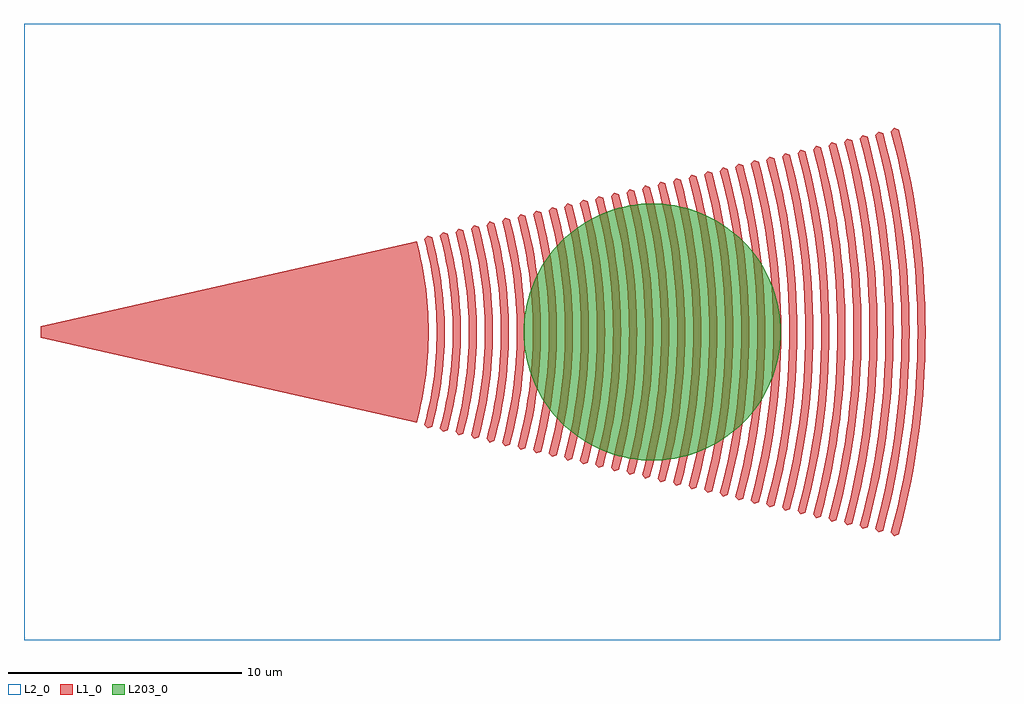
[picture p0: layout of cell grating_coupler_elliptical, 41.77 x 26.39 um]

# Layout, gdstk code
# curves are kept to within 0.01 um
import gdstk
lib = gdstk.Library(unit=1e-6, precision=1e-09)
def R(c, l, rs):  # rectangles x0, y0, x1, y1
    for r in rs: c.add(gdstk.rectangle(r[:2], r[2:], *l))
def P(c, l, *ps):  # polygons
    for p in ps: c.add(gdstk.Polygon(p, *l))
L1_0 = (1, 0)
L2_0 = (2, 0)
L203_0 = (203, 0)

circle_layer203_0_radius = lib.new_cell('circle_layer203_0_radius5p5')
P(circle_layer203_0_radius, L203_0, [(5.5,0),(5.495,0.24),(5.453,0.718),(5.37,1.19),(5.245,1.654),(5.081,2.105),(4.879,2.54),(4.639,2.955),(4.505,3.155),(4.213,3.535),(3.889,3.889),(3.535,4.213),(3.155,4.505),(2.955,4.639),(2.54,4.879),(2.105,5.081),(1.654,5.245),(1.19,5.37),(0.718,5.453),(0.24,5.495),(0,5.5),(-0.24,5.495),(-0.718,5.453),(-1.19,5.37),(-1.654,5.245),(-2.105,5.081),(-2.54,4.879),(-2.955,4.639),(-3.155,4.505),(-3.535,4.213),(-3.889,3.889),(-4.213,3.535),(-4.505,3.155),(-4.639,2.955),(-4.879,2.54),(-5.081,2.105),(-5.245,1.654),(-5.37,1.19),(-5.453,0.718),(-5.495,0.24),(-5.5,0),(-5.495,-0.24),(-5.453,-0.718),(-5.37,-1.19),(-5.245,-1.654),(-5.081,-2.105),(-4.879,-2.54),(-4.639,-2.955),(-4.505,-3.155),(-4.213,-3.535),(-3.889,-3.889),(-3.535,-4.213),(-3.155,-4.505),(-2.955,-4.639),(-2.54,-4.879),(-2.105,-5.081),(-1.654,-5.245),(-1.19,-5.37),(-0.718,-5.453),(-0.24,-5.495),(0,-5.5),(0.24,-5.495),(0.718,-5.453),(1.19,-5.37),(1.654,-5.245),(2.105,-5.081),(2.54,-4.879),(2.955,-4.639),(3.155,-4.505),(3.535,-4.213),(3.889,-3.889),(4.213,-3.535),(4.505,-3.155),(4.639,-2.955),(4.879,-2.54),(5.081,-2.105),(5.245,-1.654),(5.37,-1.19),(5.453,-0.718),(5.495,-0.24)])

grating_coupler_elliptic = lib.new_cell('grating_coupler_elliptical')
P(grating_coupler_elliptic, L1_0, [(17.275,-4.115),(17.138,-3.961),(17.381,-2.919),(17.514,-2.129),(17.627,-1.067),(17.664,0),(17.627,1.067),(17.514,2.129),(17.381,2.919),(17.138,3.961),(17.275,4.115),(17.469,4.047),(17.603,3.519),(17.767,2.716),(17.854,2.177),(17.947,1.363),(17.986,0.819),(18.008,0),(17.986,-0.819),(17.947,-1.363),(17.854,-2.177),(17.767,-2.716),(17.603,-3.519),(17.469,-4.047)],
  [(17.94,-4.269),(17.803,-4.115),(18.056,-3.032),(18.231,-1.937),(18.311,-1.109),(18.341,-0.555),(18.35,0),(18.341,0.555),(18.311,1.109),(18.231,1.937),(18.056,3.032),(17.803,4.115),(17.94,4.269),(18.135,4.201),(18.335,3.376),(18.444,2.82),(18.534,2.26),(18.631,1.415),(18.684,0.567),(18.694,0),(18.684,-0.567),(18.631,-1.415),(18.534,-2.26),(18.444,-2.82),(18.335,-3.376),(18.135,-4.201)],
  [(18.606,-4.423),(18.469,-4.269),(18.61,-3.709),(18.731,-3.146),(18.912,-2.009),(18.973,-1.437),(19.014,-0.863),(19.036,0),(19.014,0.863),(18.973,1.437),(18.912,2.009),(18.731,3.146),(18.61,3.709),(18.469,4.269),(18.606,4.423),(18.801,4.355),(18.944,3.787),(19.121,2.923),(19.253,2.051),(19.315,1.467),(19.356,0.881),(19.38,0),(19.356,-0.881),(19.315,-1.467),(19.253,-2.051),(19.121,-2.923),(18.944,-3.787),(18.801,-4.355)],
  [(19.271,-4.577),(19.134,-4.423),(19.345,-3.552),(19.46,-2.966),(19.555,-2.377),(19.628,-1.786),(19.68,-1.192),(19.712,-0.596),(19.722,0),(19.712,0.596),(19.68,1.192),(19.628,1.786),(19.555,2.377),(19.46,2.966),(19.345,3.552),(19.134,4.423),(19.271,4.577),(19.466,4.509),(19.681,3.624),(19.798,3.026),(19.894,2.426),(19.999,1.519),(20.055,0.608),(20.066,0),(20.055,-0.608),(19.999,-1.519),(19.894,-2.426),(19.798,-3.026),(19.681,-3.624),(19.466,-4.509)],
  [(19.937,-4.731),(19.8,-4.577),(20.018,-3.675),(20.137,-3.07),(20.235,-2.46),(20.311,-1.848),(20.365,-1.233),(20.398,-0.617),(20.408,0),(20.398,0.617),(20.365,1.233),(20.311,1.848),(20.235,2.46),(20.137,3.07),(20.018,3.675),(19.8,4.577),(19.937,4.731),(20.132,4.663),(20.354,3.747),(20.475,3.13),(20.616,2.196),(20.682,1.571),(20.727,0.943),(20.752,0),(20.727,-0.943),(20.682,-1.571),(20.616,-2.196),(20.475,-3.13),(20.354,-3.747),(20.132,-4.663)],
  [(20.602,-4.885),(20.465,-4.731),(20.691,-3.799),(20.814,-3.173),(20.915,-2.543),(20.993,-1.91),(21.05,-1.275),(21.083,-0.638),(21.094,0),(21.083,0.638),(21.05,1.275),(20.993,1.91),(20.915,2.543),(20.814,3.173),(20.691,3.799),(20.465,4.731),(20.602,4.885),(20.797,4.817),(20.956,4.188),(21.152,3.233),(21.297,2.269),(21.366,1.623),(21.412,0.974),(21.438,0),(21.412,-0.974),(21.366,-1.623),(21.297,-2.269),(21.152,-3.233),(20.956,-4.188),(20.797,-4.817)],
  [(21.268,-5.039),(21.131,-4.885),(21.364,-3.923),(21.491,-3.276),(21.595,-2.626),(21.676,-1.972),(21.734,-1.316),(21.769,-0.658),(21.78,0),(21.769,0.658),(21.734,1.316),(21.676,1.972),(21.595,2.626),(21.491,3.276),(21.364,3.923),(21.131,4.885),(21.268,5.039),(21.463,4.971),(21.626,4.322),(21.829,3.336),(21.935,2.674),(22.05,1.675),(22.112,0.671),(22.124,0),(22.112,-0.671),(22.05,-1.675),(21.935,-2.674),(21.829,-3.336),(21.626,-4.322),(21.463,-4.971)],
  [(21.933,-5.193),(21.796,-5.039),(21.963,-4.378),(22.105,-3.713),(22.224,-3.044),(22.32,-2.372),(22.392,-1.696),(22.44,-1.019),(22.466,0),(22.44,1.019),(22.392,1.696),(22.32,2.372),(22.224,3.044),(22.105,3.713),(21.963,4.378),(21.796,5.039),(21.933,5.193),(22.128,5.125),(22.297,4.456),(22.506,3.44),(22.615,2.757),(22.733,1.726),(22.782,1.037),(22.81,0),(22.782,-1.037),(22.733,-1.726),(22.615,-2.757),(22.506,-3.44),(22.297,-4.456),(22.128,-5.125)],
  [(22.599,-5.347),(22.462,-5.193),(22.71,-4.17),(22.845,-3.483),(22.955,-2.791),(23.042,-2.097),(23.103,-1.399),(23.14,-0.7),(23.152,0),(23.14,0.7),(23.103,1.399),(23.042,2.097),(22.955,2.791),(22.845,3.483),(22.71,4.17),(22.462,5.193),(22.599,5.347),(22.794,5.279),(23.045,4.242),(23.242,3.192),(23.342,2.487),(23.417,1.778),(23.483,0.712),(23.496,0),(23.483,-0.712),(23.417,-1.778),(23.342,-2.487),(23.242,-3.192),(23.045,-4.242),(22.794,-5.279)],
  [(23.264,-5.501),(23.127,-5.347),(23.304,-4.646),(23.455,-3.941),(23.582,-3.231),(23.683,-2.517),(23.788,-1.441),(23.826,-0.721),(23.838,0),(23.826,0.721),(23.788,1.441),(23.683,2.517),(23.582,3.231),(23.455,3.941),(23.304,4.646),(23.127,5.347),(23.264,5.501),(23.459,5.433),(23.718,4.366),(23.92,3.285),(24.023,2.559),(24.101,1.83),(24.169,0.733),(24.182,0),(24.169,-0.733),(24.101,-1.83),(24.023,-2.559),(23.92,-3.285),(23.718,-4.366),(23.459,-5.433)],
  [(23.93,-5.655),(23.793,-5.501),(23.974,-4.78),(24.13,-4.054),(24.26,-3.324),(24.365,-2.589),(24.443,-1.852),(24.495,-1.112),(24.524,0),(24.495,1.112),(24.443,1.852),(24.365,2.589),(24.26,3.324),(24.13,4.054),(23.974,4.78),(23.793,5.501),(23.93,5.655),(24.125,5.587),(24.391,4.489),(24.599,3.378),(24.705,2.632),(24.785,1.882),(24.838,1.13),(24.868,0),(24.838,-1.13),(24.785,-1.882),(24.705,-2.632),(24.599,-3.378),(24.391,-4.489),(24.125,-5.587)],
  [(24.595,-5.809),(24.458,-5.655),(24.645,-4.913),(24.805,-4.168),(24.996,-3.04),(25.09,-2.283),(25.157,-1.524),(25.197,-0.762),(25.21,0),(25.197,0.762),(25.157,1.524),(25.09,2.283),(24.996,3.04),(24.805,4.168),(24.645,4.913),(24.458,5.655),(24.595,5.809),(24.79,5.741),(25.064,4.613),(25.278,3.471),(25.431,2.319),(25.499,1.548),(25.54,0.774),(25.554,0),(25.54,-0.774),(25.499,-1.548),(25.431,-2.319),(25.278,-3.471),(25.064,-4.613),(24.79,-5.741)],
  [(25.261,-5.963),(25.124,-5.809),(25.316,-5.047),(25.48,-4.281),(25.617,-3.51),(25.728,-2.734),(25.841,-1.565),(25.883,-0.783),(25.896,0),(25.883,0.783),(25.841,1.565),(25.728,2.734),(25.617,3.51),(25.48,4.281),(25.316,5.047),(25.124,5.809),(25.261,5.963),(25.456,5.895),(25.737,4.737),(25.956,3.564),(26.068,2.777),(26.152,1.986),(26.208,1.192),(26.24,0),(26.208,-1.192),(26.152,-1.986),(26.068,-2.777),(25.956,-3.564),(25.737,-4.737),(25.456,-5.895)],
  [(25.926,-6.117),(25.789,-5.963),(25.986,-5.181),(26.155,-4.395),(26.296,-3.603),(26.409,-2.807),(26.494,-2.007),(26.551,-1.205),(26.582,0),(26.551,1.205),(26.494,2.007),(26.409,2.807),(26.296,3.603),(26.155,4.395),(25.986,5.181),(25.789,5.963),(25.926,6.117),(26.121,6.049),(26.409,4.861),(26.635,3.657),(26.749,2.849),(26.836,2.038),(26.893,1.224),(26.926,0),(26.893,-1.224),(26.836,-2.038),(26.749,-2.849),(26.635,-3.657),(26.409,-4.861),(26.121,-6.049)],
  [(26.592,-6.271),(26.455,-6.117),(26.657,-5.315),(26.83,-4.508),(26.975,-3.696),(27.091,-2.879),(27.178,-2.059),(27.236,-1.237),(27.268,0),(27.236,1.237),(27.178,2.059),(27.091,2.879),(26.975,3.696),(26.83,4.508),(26.657,5.315),(26.455,6.117),(26.592,6.271),(26.787,6.203),(27.082,4.984),(27.313,3.75),(27.431,2.922),(27.553,1.672),(27.597,0.837),(27.612,0),(27.597,-0.837),(27.553,-1.672),(27.431,-2.922),(27.313,-3.75),(27.082,-4.984),(26.787,-6.203)],
  [(27.257,-6.425),(27.12,-6.271),(27.327,-5.449),(27.505,-4.622),(27.653,-3.789),(27.772,-2.952),(27.895,-1.69),(27.94,-0.845),(27.954,0),(27.94,0.845),(27.895,1.69),(27.772,2.952),(27.653,3.789),(27.505,4.622),(27.327,5.449),(27.12,6.271),(27.257,6.425),(27.452,6.357),(27.755,5.108),(27.992,3.843),(28.113,2.994),(28.203,2.141),(28.263,1.286),(28.298,0),(28.282,-0.857),(28.237,-1.714),(28.113,-2.994),(27.992,-3.843),(27.755,-5.108),(27.452,-6.357)],
  [(27.923,-6.579),(27.786,-6.425),(28.093,-5.16),(28.26,-4.309),(28.397,-3.454),(28.503,-2.594),(28.579,-1.731),(28.625,-0.866),(28.64,0),(28.625,0.866),(28.579,1.731),(28.503,2.594),(28.397,3.454),(28.26,4.309),(28.093,5.16),(27.786,6.425),(27.923,6.579),(28.118,6.511),(28.428,5.232),(28.671,3.936),(28.794,3.067),(28.922,1.755),(28.968,0.878),(28.984,0),(28.968,-0.878),(28.922,-1.755),(28.794,-3.067),(28.671,-3.936),(28.428,-5.232),(28.118,-6.511)],
  [(28.589,-6.733),(28.451,-6.579),(28.766,-5.283),(28.937,-4.413),(29.077,-3.537),(29.186,-2.656),(29.264,-1.773),(29.311,-0.887),(29.326,0),(29.311,0.887),(29.264,1.773),(29.186,2.656),(29.077,3.537),(28.937,4.413),(28.766,5.283),(28.451,6.579),(28.589,6.733),(28.783,6.665),(29.101,5.355),(29.349,4.029),(29.476,3.139),(29.571,2.245),(29.654,0.899),(29.67,0),(29.654,-0.899),(29.571,-2.245),(29.476,-3.139),(29.349,-4.029),(29.101,-5.355),(28.783,-6.665)],
  [(29.254,-6.887),(29.117,-6.733),(29.339,-5.85),(29.53,-4.962),(29.757,-3.619),(29.869,-2.718),(29.976,-1.361),(30.012,0),(29.976,1.361),(29.869,2.718),(29.757,3.619),(29.53,4.962),(29.339,5.85),(29.117,6.733),(29.254,6.887),(29.449,6.819),(29.774,5.479),(30.028,4.123),(30.21,2.755),(30.291,1.838),(30.339,0.92),(30.356,0),(30.339,-0.92),(30.291,-1.838),(30.21,-2.755),(30.028,-4.123),(29.774,-5.479),(29.449,-6.819)],
  [(29.92,-7.041),(29.783,-6.887),(30.01,-5.984),(30.205,-5.076),(30.368,-4.161),(30.551,-2.781),(30.662,-1.392),(30.698,0),(30.662,1.392),(30.551,2.781),(30.368,4.161),(30.205,5.076),(30.01,5.984),(29.783,6.887),(29.92,7.041),(30.114,6.973),(30.447,5.603),(30.706,4.216),(30.839,3.284),(30.938,2.349),(31.025,0.94),(31.042,0),(31.025,-0.94),(30.938,-2.349),(30.839,-3.284),(30.706,-4.216),(30.447,-5.603),(30.114,-6.973)],
  [(30.585,-7.194),(30.448,-7.041),(30.68,-6.118),(30.88,-5.189),(31.117,-3.785),(31.234,-2.843),(31.347,-1.423),(31.384,0),(31.347,1.423),(31.234,2.843),(31.117,3.785),(30.88,5.189),(30.68,6.118),(30.448,7.041),(30.585,7.194),(30.78,7.127),(31.12,5.727),(31.385,4.309),(31.52,3.357),(31.622,2.401),(31.711,0.961),(31.728,0),(31.711,-0.961),(31.622,-2.401),(31.52,-3.357),(31.385,-4.309),(31.12,-5.727),(30.78,-7.127)],
  [(31.251,-7.348),(31.114,-7.195),(31.351,-6.252),(31.555,-5.303),(31.725,-4.348),(31.917,-2.905),(32.032,-1.455),(32.07,0),(32.032,1.455),(31.917,2.905),(31.725,4.348),(31.555,5.303),(31.351,6.252),(31.114,7.195),(31.251,7.348),(31.445,7.281),(31.792,5.85),(32.064,4.402),(32.202,3.429),(32.344,1.963),(32.396,0.982),(32.414,0),(32.396,-0.982),(32.344,-1.963),(32.202,-3.429),(32.064,-4.402),(31.792,-5.85),(31.445,-7.281)],
  [(31.916,-7.502),(31.779,-7.349),(32.022,-6.386),(32.23,-5.416),(32.477,-3.951),(32.599,-2.967),(32.717,-1.486),(32.756,0),(32.717,1.486),(32.599,2.967),(32.477,3.951),(32.23,5.416),(32.022,6.386),(31.779,7.349),(31.916,7.502),(32.111,7.435),(32.465,5.974),(32.742,4.495),(32.941,3.003),(33.029,2.004),(33.082,1.003),(33.1,0),(33.082,-1.003),(33.029,-2.004),(32.941,-3.003),(32.742,-4.495),(32.465,-5.974),(32.111,-7.435)],
  [(32.582,-7.656),(32.445,-7.503),(32.803,-6.026),(32.998,-5.033),(33.158,-4.033),(33.282,-3.029),(33.402,-1.517),(33.442,0),(33.402,1.517),(33.282,3.029),(33.158,4.033),(32.998,5.033),(32.803,6.026),(32.445,7.503),(32.582,7.656),(32.776,7.589),(33.138,6.098),(33.421,4.588),(33.565,3.574),(33.673,2.556),(33.745,1.535),(33.786,0),(33.745,-1.535),(33.673,-2.556),(33.565,-3.574),(33.421,-4.588),(33.138,-6.098),(32.776,-7.589)],
  [(33.247,-7.81),(33.11,-7.657),(33.363,-6.653),(33.58,-5.644),(33.761,-4.627),(33.965,-3.092),(34.088,-1.548),(34.128,0),(34.088,1.548),(33.965,3.092),(33.761,4.627),(33.58,5.644),(33.363,6.653),(33.11,7.657),(33.247,7.81),(33.442,7.743),(33.811,6.221),(34.099,4.681),(34.306,3.128),(34.398,2.087),(34.453,1.044),(34.472,0),(34.453,-1.044),(34.398,-2.087),(34.306,-3.128),(34.099,-4.681),(33.811,-6.221),(33.442,-7.743)],
  [(33.913,-7.964),(33.776,-7.811),(34.033,-6.787),(34.255,-5.757),(34.518,-4.199),(34.648,-3.154),(34.773,-1.579),(34.814,0),(34.773,1.579),(34.648,3.154),(34.518,4.199),(34.255,5.757),(34.033,6.787),(33.776,7.811),(33.913,7.964),(34.108,7.897),(34.484,6.345),(34.778,4.774),(34.928,3.719),(35.04,2.66),(35.139,1.065),(35.158,0),(35.139,-1.065),(35.04,-2.66),(34.928,-3.719),(34.778,-4.774),(34.484,-6.345),(34.108,-7.897)],
  [(34.578,-8.118),(34.441,-7.965),(34.704,-6.921),(34.93,-5.871),(35.118,-4.813),(35.33,-3.216),(35.458,-1.61),(35.482,-1.074),(35.5,0),(35.482,1.074),(35.458,1.61),(35.33,3.216),(35.198,4.282),(34.93,5.871),(34.704,6.921),(34.441,7.965),(34.578,8.118),(34.773,8.051),(35.157,6.469),(35.457,4.867),(35.609,3.792),(35.724,2.712),(35.824,1.086),(35.844,0),(35.824,-1.086),(35.724,-2.712),(35.609,-3.792),(35.457,-4.867),(35.157,-6.469),(34.773,-8.051)],
  [(35.244,-8.272),(35.107,-8.119),(35.375,-7.055),(35.705,-5.446),(35.878,-4.365),(36.013,-3.278),(36.143,-1.641),(36.182,-0.547),(36.186,0),(36.182,0.547),(36.143,1.641),(36.013,3.278),(35.878,4.365),(35.705,5.446),(35.375,7.055),(35.107,8.119),(35.244,8.272),(35.439,8.205),(35.83,6.592),(36.135,4.96),(36.291,3.864),(36.408,2.764),(36.486,1.659),(36.53,0),(36.486,-1.659),(36.408,-2.764),(36.291,-3.864),(36.135,-4.96),(35.83,-6.592),(35.439,-8.205)],
  [(35.909,-8.426),(35.772,-8.273),(36.045,-7.189),(36.382,-5.549),(36.558,-4.448),(36.696,-3.34),(36.75,-2.785),(36.828,-1.672),(36.868,-0.558),(36.872,0),(36.868,0.558),(36.828,1.672),(36.794,2.229),(36.696,3.34),(36.558,4.448),(36.382,5.549),(36.045,7.189),(35.772,8.273),(35.909,8.426),(36.104,8.359),(36.379,7.267),(36.502,6.716),(36.616,6.164),(36.814,5.053),(37.037,3.377),(37.136,2.253),(37.196,1.127),(37.216,0),(37.196,-1.127),(37.136,-2.253),(37.037,-3.377),(36.814,-5.053),(36.616,-6.164),(36.502,-6.716),(36.379,-7.267),(36.104,-8.359)],
  [(36.575,-8.58),(36.438,-8.427),(36.716,-7.323),(37.059,-5.653),(37.239,-4.53),(37.378,-3.403),(37.478,-2.271),(37.513,-1.704),(37.558,0),(37.513,1.704),(37.478,2.271),(37.378,3.403),(37.239,4.53),(37.059,5.653),(36.716,7.323),(36.438,8.427),(36.575,8.58),(36.77,8.513),(37.05,7.4),(37.175,6.84),(37.397,5.713),(37.492,5.146),(37.654,4.009),(37.821,2.295),(37.881,1.148),(37.902,0),(37.881,-1.148),(37.821,-2.295),(37.654,-4.009),(37.492,-5.146),(37.397,-5.713),(37.175,-6.84),(37.05,-7.4),(36.77,-8.513)],
  [(37.24,-8.734),(37.103,-8.581),(37.386,-7.456),(37.629,-6.325),(37.832,-5.185),(37.995,-4.04),(38.117,-2.889),(38.199,-1.735),(38.224,-1.157),(38.244,0),(38.224,1.157),(38.199,1.735),(38.117,2.889),(37.995,4.04),(37.832,5.185),(37.629,6.325),(37.386,7.456),(37.103,8.581),(37.24,8.734),(37.435,8.667),(37.583,8.103),(37.848,6.964),(38.074,5.816),(38.171,5.239),(38.335,4.082),(38.459,2.919),(38.541,1.753),(38.567,1.169),(38.588,0),(38.567,-1.169),(38.541,-1.753),(38.459,-2.919),(38.335,-4.082),(38.171,-5.239),(38.074,-5.816),(37.848,-6.964),(37.583,-8.103),(37.435,-8.667)],
  [(0.721,0.25),(0.721,-0.25),(16.638,-3.85),(16.822,-3.093),(17.004,-2.07),(17.081,-1.426),(17.136,-0.649),(17.148,0.26),(17.122,0.908),(17.068,1.555),(16.944,2.455),(16.822,3.093),(16.638,3.85)],
  [(16.472,-3.807),(16.654,-3.057),(16.796,-2.3),(16.897,-1.537),(16.958,-0.769),(16.976,0.257),(16.958,0.769),(16.897,1.537),(16.796,2.3),(16.706,2.805),(16.472,3.807),(16.804,3.893),(16.932,3.385),(17.091,2.613),(17.238,1.573),(17.301,0.788),(17.319,0.263),(17.301,-0.788),(17.238,-1.573),(17.134,-2.354),(16.989,-3.129),(16.804,-3.893)])
R(grating_coupler_elliptic, L2_0, [(0,-13.193,41.773,13.193)])
grating_coupler_elliptic.add(gdstk.Reference(circle_layer203_0_radius, (26.89,0)))

lib.write_gds('grating_coupler_elliptical.gds')
